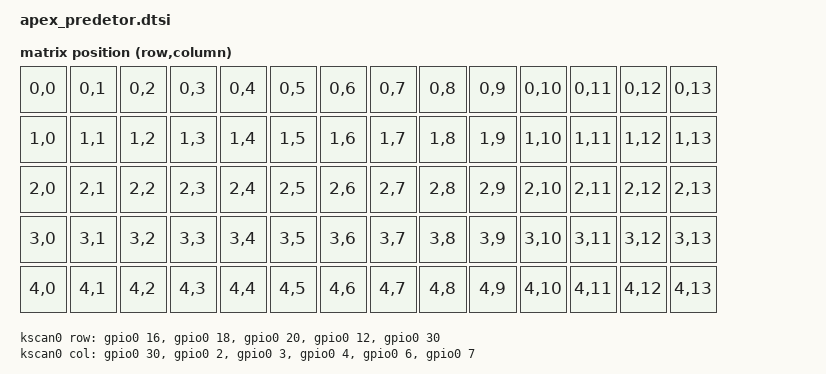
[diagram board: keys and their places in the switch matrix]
#include <dt-bindings/zmk/matrix_transform.h>
#include "apex_predetor-layouts.dtsi"

/ {
    chosen {
        zmk,kscan = &kscan0;
        zmk,physical-layout = &apex_predetor_layout;
    };

    kscan0: kscan {
        compatible = "zmk,kscan-gpio-matrix";
        diode-direction = "col2row";

        /* Left HY0020: rows P0.16, P0.18, P0.20, P0.12, P0.30. */
        row-gpios =
            <&gpio0 16 (GPIO_PULL_DOWN | GPIO_ACTIVE_HIGH)>,
            <&gpio0 18 (GPIO_PULL_DOWN | GPIO_ACTIVE_HIGH)>,
            <&gpio0 20 (GPIO_PULL_DOWN | GPIO_ACTIVE_HIGH)>,
            <&gpio0 12 (GPIO_PULL_DOWN | GPIO_ACTIVE_HIGH)>,
            <&gpio0 30 (GPIO_PULL_DOWN | GPIO_ACTIVE_HIGH)>;

        /* Left HY0020: columns P0.30, P0.02, P0.03, P0.04, P0.06, P0.07. */
        col-gpios =
            <&gpio0 30 GPIO_ACTIVE_HIGH>,
            <&gpio0  2 GPIO_ACTIVE_HIGH>,
            <&gpio0  3 GPIO_ACTIVE_HIGH>,
            <&gpio0  4 GPIO_ACTIVE_HIGH>,
            <&gpio0  6 GPIO_ACTIVE_HIGH>,
            <&gpio0  7 GPIO_ACTIVE_HIGH>;
    };

    default_transform: keymap_transform_0 {
        compatible = "zmk,matrix-transform";
        rows = <5>;
        columns = <14>;
        map = <
            RC(0,0) RC(0,1) RC(0,2) RC(0,3) RC(0,4) RC(0,5) RC(0,6) RC(0,7) RC(0,8) RC(0,9) RC(0,10) RC(0,11) RC(0,12) RC(0,13)
            RC(1,0) RC(1,1) RC(1,2) RC(1,3) RC(1,4) RC(1,5) RC(1,6) RC(1,7) RC(1,8) RC(1,9) RC(1,10) RC(1,11) RC(1,12) RC(1,13)
            RC(2,0) RC(2,1) RC(2,2) RC(2,3) RC(2,4) RC(2,5) RC(2,6) RC(2,7) RC(2,8) RC(2,9) RC(2,10) RC(2,11) RC(2,12) RC(2,13)
            RC(3,0) RC(3,1) RC(3,2) RC(3,3) RC(3,4) RC(3,5) RC(3,6) RC(3,7) RC(3,8) RC(3,9) RC(3,10) RC(3,11) RC(3,12) RC(3,13)
            RC(4,0) RC(4,1) RC(4,2) RC(4,3) RC(4,4) RC(4,5) RC(4,6) RC(4,7) RC(4,8) RC(4,9) RC(4,10) RC(4,11) RC(4,12) RC(4,13)
        >;
    };
};
